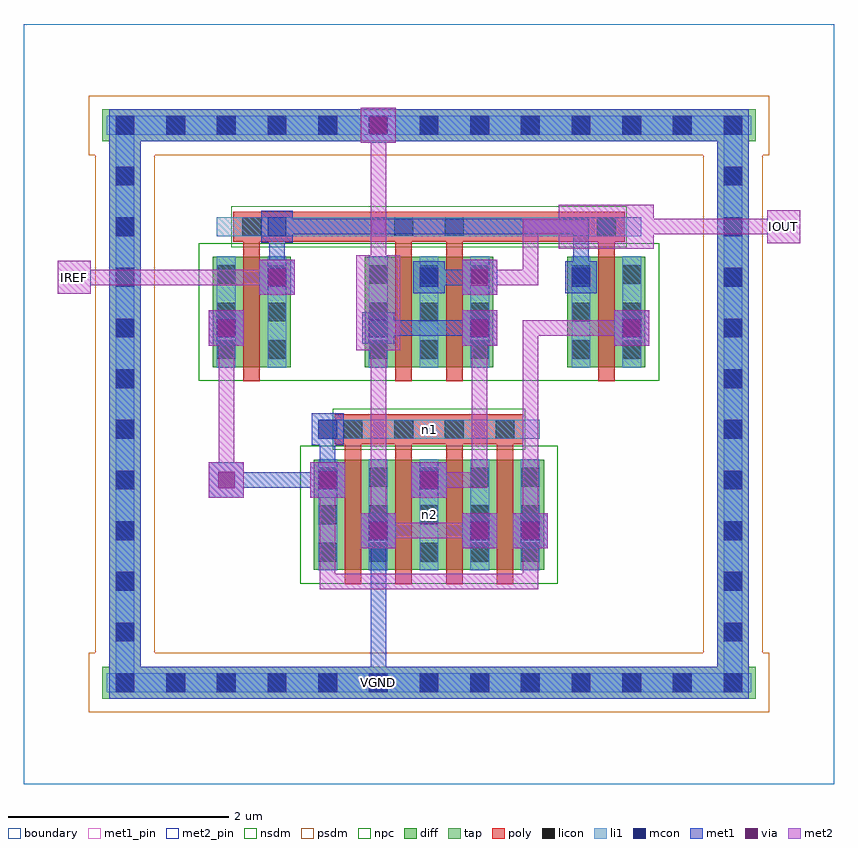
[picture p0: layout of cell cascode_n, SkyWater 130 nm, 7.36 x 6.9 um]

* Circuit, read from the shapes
.subckt cascode_n IOUT IREF VGND n1 n2
XM1 IREF IREF n1 VGND sky130_fd_pr__nfet_01v8 w=1 l=0.15 m=2
XM2 VGND n1 n1 VGND sky130_fd_pr__nfet_01v8 w=1 l=0.15 m=2
XM3 n2 n1 VGND VGND sky130_fd_pr__nfet_01v8 w=1 l=0.15 m=2
XM4 IOUT IREF n2 VGND sky130_fd_pr__nfet_01v8 w=1 l=0.15 m=2
.ends

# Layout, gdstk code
import gdstk
lib = gdstk.Library(unit=1e-6, precision=1e-09)
def R(c, l, rs):  # rectangles x0, y0, x1, y1
    for r in rs: c.add(gdstk.rectangle(r[:2], r[2:], *l))
def A(c, l, x, y, w, h, nx, ny, dx, dy):  # array of equal rectangles
    R(c, l, [(x+i*dx, y+j*dy, x+i*dx+w, y+j*dy+h) for i in range(nx) for j in range(ny)])
diff = (65, 20)
tap = (65, 44)
poly = (66, 20)
licon = (66, 44)
li1 = (67, 20)
mcon = (67, 44)
met1_pin = (68, 16)
met1 = (68, 20)
via = (68, 44)
met2_pin = (69, 16)
met2 = (69, 20)
nsdm = (93, 44)
psdm = (94, 20)
npc = (95, 20)
boundary = (235, 4)

cascode_n = lib.new_cell('cascode_n')
R(cascode_n, diff, [(2.635,1.945,4.725,2.945), (1.715,3.785,2.425,4.785), (3.095,3.785,4.265,4.785), (4.935,3.785,5.645,4.785)])
R(cascode_n, tap, [(0.715,0.775,6.645,1.065), (0.775,0.775,1.065,6.125), (6.295,0.775,6.585,6.125), (0.715,5.835,6.645,6.125)])
A(cascode_n, poly, 2.915, 1.815, 0.15, 1.405, 4, 1, 0.46, 0)
R(cascode_n, poly, [(2.825,3.085,4.535,3.355), (1.995,3.655,2.145,5.06), (3.375,3.655,3.525,5.06), (3.835,3.655,3.985,5.06), (5.215,3.655,5.365,5.06), (1.905,4.925,5.455,5.195)])
A(cascode_n, licon, 0.835, 0.835, 0.17, 0.17, 13, 2, 0.46, 5.06)
A(cascode_n, licon, 0.835, 1.295, 0.17, 0.17, 1, 10, 0, 0.46)
A(cascode_n, licon, 6.355, 1.295, 0.17, 0.17, 1, 10, 0, 0.46)
A(cascode_n, licon, 2.675, 2.02, 0.17, 0.17, 5, 3, 0.46, 0.34)
A(cascode_n, licon, 2.905, 3.135, 0.17, 0.17, 4, 1, 0.46, 0)
A(cascode_n, licon, 1.755, 3.86, 0.17, 0.17, 1, 3, 0, 0.34)
A(cascode_n, licon, 2.215, 3.86, 0.17, 0.17, 1, 3, 0, 0.34)
A(cascode_n, licon, 3.135, 3.86, 0.17, 0.17, 3, 3, 0.46, 0.34)
A(cascode_n, licon, 4.975, 3.86, 0.17, 0.17, 1, 3, 0, 0.34)
A(cascode_n, licon, 5.435, 3.86, 0.17, 0.17, 1, 3, 0, 0.34)
R(cascode_n, licon, [(1.985,4.975,2.155,5.145), (3.365,4.975,3.535,5.145), (3.825,4.975,3.995,5.145), (5.205,4.975,5.375,5.145)])
A(cascode_n, li1, 2.675, 1.94, 0.17, 1.01, 5, 1, 0.46, 0)
A(cascode_n, li1, 3.135, 3.78, 0.17, 1.01, 3, 1, 0.46, 0)
R(cascode_n, li1, [(0.755,0.835,6.605,1.005), (0.835,0.835,1.005,6.065), (6.355,0.835,6.525,6.065), (2.675,3.135,4.685,3.305), (1.755,3.78,1.925,4.79), (2.215,3.78,2.385,4.79), (4.975,3.78,5.145,4.79), (5.435,3.78,5.605,4.79), (1.755,4.975,5.605,5.145), (0.755,5.895,6.605,6.065)])
A(cascode_n, mcon, 0.835, 0.835, 0.17, 0.17, 13, 2, 0.46, 5.06)
A(cascode_n, mcon, 0.835, 1.295, 0.17, 0.17, 1, 7, 0, 0.46)
A(cascode_n, mcon, 6.355, 1.295, 0.17, 0.17, 1, 7, 0, 0.46)
A(cascode_n, mcon, 0.835, 4.515, 0.17, 0.17, 5, 1, 1.38, 0)
R(cascode_n, mcon, [(3.135,2.215,3.305,2.385), (4.055,2.215,4.225,2.385), (4.515,2.215,4.685,2.385), (2.675,2.675,2.845,2.845), (3.595,2.675,3.765,2.845), (2.675,3.135,2.845,3.305), (1.755,4.055,1.925,4.225), (3.135,4.055,3.305,4.225), (4.055,4.055,4.225,4.225), (5.435,4.055,5.605,4.225), (0.835,4.975,1.005,5.145), (2.215,4.975,2.385,5.145), (6.355,4.975,6.525,5.145), (0.835,5.435,1.005,5.605), (6.355,5.435,6.525,5.605)])
R(cascode_n, met1_pin, [(3.15,0.85,3.29,0.99)])
A(cascode_n, met1, 1.68, 2.6, 0.32, 0.32, 3, 1, 0.92, 0)
A(cascode_n, met1, 2.155, 4.455, 0.29, 0.29, 3, 1, 1.38, 0)
R(cascode_n, met1, [(0.775,0.775,6.585,1.065), (0.775,0.775,1.065,6.125), (6.295,0.775,6.585,6.125), (3.15,0.85,3.29,0.99), (3.15,0.85,3.29,2.37), (3.06,2.14,3.38,2.46), (3.98,2.14,4.3,2.46), (4.44,2.14,4.76,2.46), (3.075,2.155,3.365,2.445), (3.995,2.155,4.285,2.445), (4.455,2.155,4.745,2.445), (2.615,2.615,2.905,2.905), (3.535,2.615,3.825,2.905), (1.77,2.69,2.83,2.83), (2.69,2.69,2.83,3.29), (2.615,3.075,2.905,3.365), (1.68,3.98,2,4.3), (3.98,3.98,4.3,4.3), (5.36,3.98,5.68,4.3), (1.695,3.995,1.985,4.285), (3.075,3.995,3.365,4.285), (3.995,3.995,4.285,4.285), (5.375,3.995,5.665,4.285), (3.15,4.07,4.21,4.21), (2.14,4.44,2.46,4.76), (3.98,4.44,4.3,4.76), (2.23,4.53,2.37,5.13), (3.61,4.53,4.21,4.67), (4.99,4.53,5.13,5.13), (2.155,4.915,2.445,5.205), (2.23,4.99,5.13,5.13), (3.06,5.82,3.38,6.14), (0.775,5.835,6.585,6.125), (3.15,5.91,3.29,6.05)])
A(cascode_n, via, 1.765, 2.685, 0.15, 0.15, 3, 1, 0.92, 0)
R(cascode_n, via, [(3.145,2.225,3.295,2.375), (4.065,2.225,4.215,2.375), (4.525,2.225,4.675,2.375), (1.765,4.065,1.915,4.215), (4.065,4.065,4.215,4.215), (5.445,4.065,5.595,4.215), (2.225,4.525,2.375,4.675), (4.065,4.525,4.215,4.675), (3.145,5.905,3.295,6.055)])
R(cascode_n, met2_pin, [(0.31,4.45,0.61,4.75), (6.75,4.91,7.05,5.21)])
A(cascode_n, met2, 1.68, 2.6, 0.32, 0.32, 3, 1, 0.92, 0)
R(cascode_n, met2, [(2.69,1.77,2.83,2.83), (2.69,1.77,4.67,1.91), (4.53,1.77,4.67,2.37), (3.06,2.14,3.38,2.46), (3.98,2.14,4.3,2.46), (4.44,2.14,4.76,2.46), (3.15,2.23,4.21,2.37), (3.15,2.23,3.29,4.21), (4.53,2.23,4.67,4.21), (1.77,2.69,1.91,4.21), (3.61,2.69,4.21,2.83), (4.07,2.69,4.21,4.21), (3.02,3.94,3.42,4.8), (1.68,3.98,2,4.3), (3.98,3.98,4.3,4.3), (5.36,3.98,5.68,4.3), (4.53,4.07,5.59,4.21), (2.14,4.44,2.46,4.76), (3.98,4.44,4.3,4.76), (0.31,4.45,0.61,4.75), (0.39,4.53,2.37,4.67), (0.39,4.53,0.53,4.67), (3.15,4.53,3.29,6.05), (4.07,4.53,4.67,4.67), (4.53,4.53,4.67,5.13), (4.86,4.86,5.72,5.26), (6.75,4.91,7.05,5.21), (4.53,4.99,5.13,5.13), (5.45,4.99,6.97,5.13), (6.83,4.99,6.97,5.13), (3.06,5.82,3.38,6.14)])
R(cascode_n, nsdm, [(2.51,1.82,4.85,3.07), (1.59,3.66,5.77,4.91)])
R(cascode_n, psdm, [(0.59,0.65,6.77,1.19), (0.65,1.19,1.19,5.71), (6.17,1.19,6.71,5.71), (0.59,5.71,6.77,6.25)])
R(cascode_n, npc, [(2.805,3.035,4.555,3.405), (1.885,4.875,5.475,5.245)])
R(cascode_n, boundary, [(0,0,7.36,6.9)])
cascode_n.add(gdstk.Label('n1', (3.68,3.22), layer=67, texttype=5))
cascode_n.add(gdstk.Label('n2', (3.68,2.445), layer=67, texttype=5))
cascode_n.add(gdstk.Label('VGND', (3.22,0.92), layer=68, texttype=5))
cascode_n.add(gdstk.Label('IREF', (0.46,4.6), layer=69, texttype=5))
cascode_n.add(gdstk.Label('IOUT', (6.9,5.06), layer=69, texttype=5))
cascode_n.add(gdstk.Label('VGND', (3.22,0.92), layer=68, texttype=16))
cascode_n.add(gdstk.Label('IREF', (0.46,4.6), layer=69, texttype=16))
cascode_n.add(gdstk.Label('IOUT', (6.9,5.06), layer=69, texttype=16))

lib.write_gds('cascode_n.gds')
